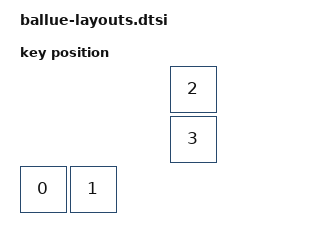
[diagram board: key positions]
/* 第四个文件：定义物理布局, 以支持 zmk studio 动态改键 */

#include <physical_layouts.dtsi>

/ {
    ballue_physical_layout: ballue_physical_layout {
        compatible = "zmk,physical-layout";
        display-name = "BallUE";
        transform = <&default_transform>;
        kscan = <&kscan0>;
        keys  //                     w   h    x    y     rot    rx    ry
            = <&key_physical_attrs 100 100    0  200       0     0     0>
            , <&key_physical_attrs 100 100  100  200       0     0     0>
            , <&key_physical_attrs 100 100  300    0       0     0     0>
            , <&key_physical_attrs 100 100  300  100       0     0     0>
            ;
    };
};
